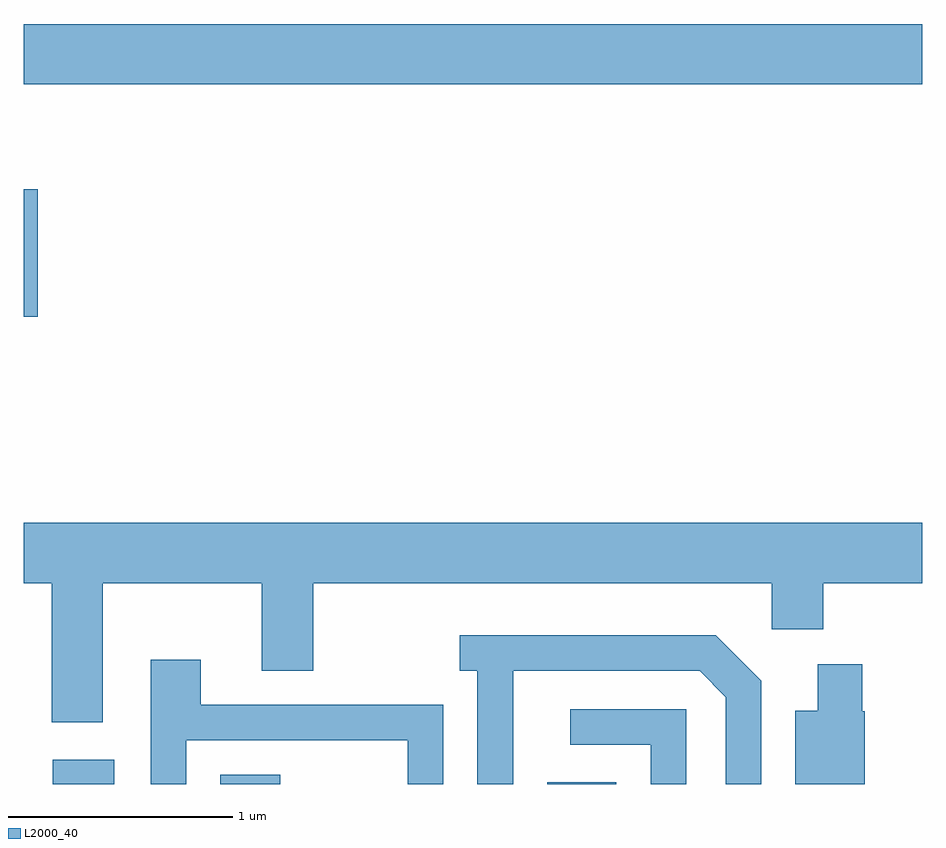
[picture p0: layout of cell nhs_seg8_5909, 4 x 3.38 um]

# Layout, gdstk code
import gdstk
lib = gdstk.Library(unit=1e-6, precision=1e-09)
def R(c, l, rs):  # rectangles x0, y0, x1, y1
    for r in rs: c.add(gdstk.rectangle(r[:2], r[2:], *l))
def P(c, l, *ps):  # polygons
    for p in ps: c.add(gdstk.Polygon(p, *l))
L2000_40 = (2000, 40)

nhs_seg8_5909 = lib.new_cell('nhs_seg8_5909')
R(nhs_seg8_5909, L2000_40, [(361.741,1904.342,362.014,1904.449), (362.486,1904.342,362.754,1904.384), (363.941,1904.342,364.249,1904.349), (361.611,1906.421,361.674,1906.989), (361.611,1907.456,365.611,1907.724)])
P(nhs_seg8_5909, L2000_40, [(361.964,1905.236),(362.671,1905.236),(362.671,1904.846),(362.899,1904.846),(362.899,1905.236),(364.941,1905.236),(364.941,1905.031),(365.169,1905.031),(365.169,1905.236),(365.611,1905.236),(365.611,1905.504),(361.611,1905.504),(361.611,1905.236),(361.736,1905.236),(361.736,1904.616),(361.964,1904.616)],
  [(363.789,1904.846),(364.619,1904.846),(364.736,1904.729),(364.736,1904.342),(364.894,1904.342),(364.894,1904.802),(364.692,1905.004),(363.553,1905.004),(363.553,1904.846),(363.631,1904.846),(363.631,1904.342),(363.789,1904.342)],
  [(362.334,1904.536),(363.321,1904.536),(363.321,1904.342),(363.479,1904.342),(363.479,1904.694),(362.399,1904.694),(362.399,1904.894),(362.176,1904.894),(362.176,1904.342),(362.334,1904.342)],
  [(365.354,1904.665),(365.344,1904.665),(365.344,1904.874),(365.146,1904.874),(365.146,1904.669),(365.046,1904.669),(365.046,1904.342),(365.354,1904.342)],
  [(364.559,1904.674),(364.043,1904.674),(364.043,1904.516),(364.401,1904.516),(364.401,1904.342),(364.559,1904.342)])

lib.write_gds('nhs_seg8_5909.gds')
